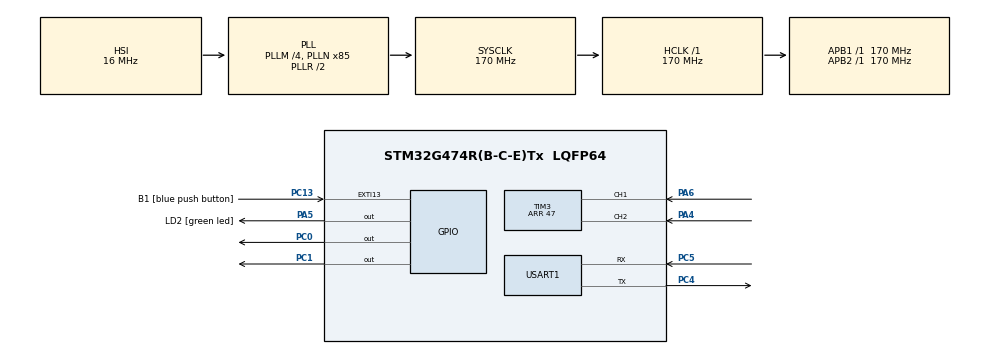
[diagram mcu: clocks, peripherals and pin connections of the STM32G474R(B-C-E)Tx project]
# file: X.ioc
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Mcu.Family=STM32G4
Mcu.Name=STM32G474R(B-C-E)Tx
Mcu.Package=LQFP64
NVIC.EXTI15_10_IRQn=true\:0\:0\:false\:false\:true\:true\:true\:true
NVIC.PriorityGroup=NVIC_PRIORITYGROUP_4
PA13.GPIO_Label=T_SWDIO
PA13.Mode=Serial_Wire
PA13.Signal=SYS_JTMS-SWDIO
PA14.GPIO_Label=T_SWCLK
PA14.Mode=Serial_Wire
PA14.Signal=SYS_JTCK-SWCLK
PA2.GPIO_Label=LPUART1_TX [STLINKV3E_VCP_RX]
PA2.Signal=LPUART1_TX
PA3.GPIO_Label=LPUART1_RX [STLINKV3E_VCP_TX]
PA3.Signal=LPUART1_RX
PA4.Signal=S_TIM3_CH2
PA5.GPIO_Label=LD2 [green led]
PA5.Signal=GPIO_Output
PA6.Signal=S_TIM3_CH1
PB3.GPIO_Label=T_SWO
PB3.Signal=SYS_JTDO-SWO
PC0.Signal=GPIO_Output
PC1.Signal=GPIO_Output
PC13.GPIO_Label=B1 [blue push button]
PC13.Signal=GPXTI13
PC14-OSC32_IN.Mode=LSE-External-Oscillator
PC14-OSC32_IN.Signal=RCC_OSC32_IN
PC15-OSC32_OUT.Mode=LSE-External-Oscillator
PC15-OSC32_OUT.Signal=RCC_OSC32_OUT
PC4.Mode=Asynchronous
PC4.Signal=USART1_TX
PC5.Mode=Asynchronous
PC5.Signal=USART1_RX
PF0-OSC_IN.Mode=HSE-External-Oscillator
PF0-OSC_IN.Signal=RCC_OSC_IN
PF1-OSC_OUT.Mode=HSE-External-Oscillator
PF1-OSC_OUT.Signal=RCC_OSC_OUT
ProjectManager.HeapSize=0x200
ProjectManager.StackSize=0x400
ProjectManager.TargetToolchain=STM32CubeIDE
RCC.ADC12Freq_Value=170000000
RCC.ADC345Freq_Value=170000000
RCC.AHBFreq_Value=170000000
RCC.APB1Freq_Value=170000000
RCC.APB1TimFreq_Value=170000000
RCC.APB2Freq_Value=170000000
RCC.APB2TimFreq_Value=170000000
RCC.CortexFreq_Value=170000000
RCC.EXTERNAL_CLOCK_VALUE=12288000
RCC.HCLKFreq_Value=170000000
RCC.HSE_VALUE=24000000
RCC.HSI48_VALUE=48000000
RCC.HSI_VALUE=16000000
RCC.PLLM=RCC_PLLM_DIV4
RCC.PLLN=85
RCC.RTCClockSelection=RCC_RTCCLKSOURCE_LSE
RCC.SYSCLKFreq_VALUE=170000000
RCC.SYSCLKSource=RCC_SYSCLKSOURCE_PLLCLK
RCC.USBFreq_Value=170000000
RCC.VCOOutputFreq_Value=340000000
SH.S_TIM3_CH1.0=TIM3_CH1,Encoder_Interface
SH.S_TIM3_CH2.0=TIM3_CH2,Encoder_Interface
TIM3.EncoderMode=TIM_ENCODERMODE_TI12
TIM3.PeriodNoDither=47
USART1.VirtualMode-Asynchronous=VM_ASYNC
VP_SYS_VS_DBSignals.Mode=DisableDeadBatterySignals
board=NUCLEO-G474RE

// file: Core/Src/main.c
/* USER CODE BEGIN Header */
/**
  ******************************************************************************
  * @file           : main.c
  * @brief          : Main program body
  ******************************************************************************
  * @attention
  *
  * Copyright (c) 2024 STMicroelectronics.
  * All rights reserved.
  *
  * This software is licensed under terms that can be found in the LICENSE file
  * in the root directory of this software component.
  * If no LICENSE file comes with this software, it is provided AS-IS.
  *
  ******************************************************************************
  */
/* USER CODE END Header */
#include "main.h"

/* USER CODE BEGIN Includes */
#include "stdio.h"
#include "string.h"
/* USER CODE END Includes */

/* USER CODE BEGIN PD */
UART_HandleTypeDef huart1;

/* USER CODE END PD */

TIM_HandleTypeDef htim3;

UART_HandleTypeDef huart1;

/* USER CODE BEGIN PV */
float QEIReadRaw;
uint8_t a;

uint8_t RxBuffer[20];
uint8_t TxBuffer[100];
/* USER CODE END PV */

void SystemClock_Config(void);
static void MX_GPIO_Init(void);
static void MX_TIM3_Init(void);
static void MX_USART1_UART_Init(void);
/* USER CODE BEGIN PFP */
void UARTPollingMethod();

/* USER CODE END PFP */

int main(void)
{

  /* MCU Configuration--------------------------------------------------------*/

  /* Reset of all peripherals, Initializes the Flash interface and the Systick. */
  HAL_Init();

  /* Configure the system clock */
  SystemClock_Config();

  /* Initialize all configured peripherals */
  MX_GPIO_Init();
  MX_TIM3_Init();
  MX_USART1_UART_Init();
  /* USER CODE BEGIN 2 */

  HAL_TIM_Encoder_Start(&htim3,TIM_CHANNEL_ALL);
  uint8_t text[] = "HELLO FIBO";
  HAL_UART_Transmit(&huart1,text, 101, 10);
  /* USER CODE END 2 */

  /* Infinite loop */
  while (1)
  {

    /* USER CODE BEGIN 3 */

	QEIReadRaw = __HAL_TIM_GET_COUNTER(&htim3);
	a = HAL_GPIO_ReadPin(GPIOC, GPIO_PIN_13);

	if(HAL_GPIO_ReadPin(GPIOC, GPIO_PIN_13) == 1)
	{
	HAL_GPIO_WritePin(GPIOC, GPIO_PIN_0, 1);
	HAL_GPIO_WritePin(GPIOC, GPIO_PIN_1, 0);
	}
	UARTPollingMethod();

  }
  /* USER CODE END 3 */
}

void SystemClock_Config(void)
{
  RCC_OscInitTypeDef RCC_OscInitStruct = {0};
  RCC_ClkInitTypeDef RCC_ClkInitStruct = {0};

  /** Configure the main internal regulator output voltage
  */
  HAL_PWREx_ControlVoltageScaling(PWR_REGULATOR_VOLTAGE_SCALE1_BOOST);

  /** Initializes the RCC Oscillators according to the specified parameters
  * in the RCC_OscInitTypeDef structure.
  */
  RCC_OscInitStruct.OscillatorType = RCC_OSCILLATORTYPE_HSI;
  RCC_OscInitStruct.HSIState = RCC_HSI_ON;
  RCC_OscInitStruct.HSICalibrationValue = RCC_HSICALIBRATION_DEFAULT;
  RCC_OscInitStruct.PLL.PLLState = RCC_PLL_ON;
  RCC_OscInitStruct.PLL.PLLSource = RCC_PLLSOURCE_HSI;
  RCC_OscInitStruct.PLL.PLLM = RCC_PLLM_DIV4;
  RCC_OscInitStruct.PLL.PLLN = 85;
  RCC_OscInitStruct.PLL.PLLP = RCC_PLLP_DIV2;
  RCC_OscInitStruct.PLL.PLLQ = RCC_PLLQ_DIV2;
  RCC_OscInitStruct.PLL.PLLR = RCC_PLLR_DIV2;
  if (HAL_RCC_OscConfig(&RCC_OscInitStruct) != HAL_OK)
  {
    Error_Handler();
  }

  /** Initializes the CPU, AHB and APB buses clocks
  */
  RCC_ClkInitStruct.ClockType = RCC_CLOCKTYPE_HCLK|RCC_CLOCKTYPE_SYSCLK
                              |RCC_CLOCKTYPE_PCLK1|RCC_CLOCKTYPE_PCLK2;
  RCC_ClkInitStruct.SYSCLKSource = RCC_SYSCLKSOURCE_PLLCLK;
  RCC_ClkInitStruct.AHBCLKDivider = RCC_SYSCLK_DIV1;
  RCC_ClkInitStruct.APB1CLKDivider = RCC_HCLK_DIV1;
  RCC_ClkInitStruct.APB2CLKDivider = RCC_HCLK_DIV1;

  if (HAL_RCC_ClockConfig(&RCC_ClkInitStruct, FLASH_LATENCY_4) != HAL_OK)
  {
    Error_Handler();
  }
}

static void MX_TIM3_Init(void)
{

  TIM_Encoder_InitTypeDef sConfig = {0};
  TIM_MasterConfigTypeDef sMasterConfig = {0};

  htim3.Instance = TIM3;
  htim3.Init.Prescaler = 0;
  htim3.Init.CounterMode = TIM_COUNTERMODE_UP;
  htim3.Init.Period = 47;
  htim3.Init.ClockDivision = TIM_CLOCKDIVISION_DIV1;
  htim3.Init.AutoReloadPreload = TIM_AUTORELOAD_PRELOAD_DISABLE;
  sConfig.EncoderMode = TIM_ENCODERMODE_TI12;
  sConfig.IC1Polarity = TIM_ICPOLARITY_RISING;
  sConfig.IC1Selection = TIM_ICSELECTION_DIRECTTI;
  sConfig.IC1Prescaler = TIM_ICPSC_DIV1;
  sConfig.IC1Filter = 0;
  sConfig.IC2Polarity = TIM_ICPOLARITY_RISING;
  sConfig.IC2Selection = TIM_ICSELECTION_DIRECTTI;
  sConfig.IC2Prescaler = TIM_ICPSC_DIV1;
  sConfig.IC2Filter = 0;
  if (HAL_TIM_Encoder_Init(&htim3, &sConfig) != HAL_OK)
  {
    Error_Handler();
  }
  sMasterConfig.MasterOutputTrigger = TIM_TRGO_RESET;
  sMasterConfig.MasterSlaveMode = TIM_MASTERSLAVEMODE_DISABLE;
  if (HAL_TIMEx_MasterConfigSynchronization(&htim3, &sMasterConfig) != HAL_OK)
  {
    Error_Handler();
  }

}

static void MX_USART1_UART_Init(void)
{

  huart1.Instance = USART1;
  huart1.Init.BaudRate = 115200;
  huart1.Init.WordLength = UART_WORDLENGTH_8B;
  huart1.Init.StopBits = UART_STOPBITS_1;
  huart1.Init.Parity = UART_PARITY_NONE;
  huart1.Init.Mode = UART_MODE_TX_RX;
  huart1.Init.HwFlowCtl = UART_HWCONTROL_NONE;
  huart1.Init.OverSampling = UART_OVERSAMPLING_16;
  huart1.Init.OneBitSampling = UART_ONE_BIT_SAMPLE_DISABLE;
  huart1.Init.ClockPrescaler = UART_PRESCALER_DIV1;
  huart1.AdvancedInit.AdvFeatureInit = UART_ADVFEATURE_NO_INIT;
  if (HAL_UART_Init(&huart1) != HAL_OK)
  {
    Error_Handler();
  }
  if (HAL_UARTEx_SetTxFifoThreshold(&huart1, UART_TXFIFO_THRESHOLD_1_8) != HAL_OK)
  {
    Error_Handler();
  }
  if (HAL_UARTEx_SetRxFifoThreshold(&huart1, UART_RXFIFO_THRESHOLD_1_8) != HAL_OK)
  {
    Error_Handler();
  }
  if (HAL_UARTEx_DisableFifoMode(&huart1) != HAL_OK)
  {
    Error_Handler();
  }

}

static void MX_GPIO_Init(void)
{
  GPIO_InitTypeDef GPIO_InitStruct = {0};

  /* GPIO Ports Clock Enable */
  __HAL_RCC_GPIOC_CLK_ENABLE();
  __HAL_RCC_GPIOF_CLK_ENABLE();
  __HAL_RCC_GPIOA_CLK_ENABLE();
  __HAL_RCC_GPIOB_CLK_ENABLE();

  /*Configure GPIO pin Output Level */
  HAL_GPIO_WritePin(GPIOC, GPIO_PIN_0|GPIO_PIN_1, GPIO_PIN_RESET);

  /*Configure GPIO pin Output Level */
  HAL_GPIO_WritePin(LD2_GPIO_Port, LD2_Pin, GPIO_PIN_RESET);

  /*Configure GPIO pin : B1_Pin */
  GPIO_InitStruct.Pin = B1_Pin;
  GPIO_InitStruct.Mode = GPIO_MODE_IT_RISING;
  GPIO_InitStruct.Pull = GPIO_NOPULL;
  HAL_GPIO_Init(B1_GPIO_Port, &GPIO_InitStruct);

  /*Configure GPIO pins : PC0 PC1 */
  GPIO_InitStruct.Pin = GPIO_PIN_0|GPIO_PIN_1;
  GPIO_InitStruct.Mode = GPIO_MODE_OUTPUT_PP;
  GPIO_InitStruct.Pull = GPIO_NOPULL;
  GPIO_InitStruct.Speed = GPIO_SPEED_FREQ_LOW;
  HAL_GPIO_Init(GPIOC, &GPIO_InitStruct);

  /*Configure GPIO pins : LPUART1_TX_Pin LPUART1_RX_Pin */
  GPIO_InitStruct.Pin = LPUART1_TX_Pin|LPUART1_RX_Pin;
  GPIO_InitStruct.Mode = GPIO_MODE_AF_PP;
  GPIO_InitStruct.Pull = GPIO_NOPULL;
  GPIO_InitStruct.Speed = GPIO_SPEED_FREQ_LOW;
  GPIO_InitStruct.Alternate = GPIO_AF12_LPUART1;
  HAL_GPIO_Init(GPIOA, &GPIO_InitStruct);

  /*Configure GPIO pin : LD2_Pin */
  GPIO_InitStruct.Pin = LD2_Pin;
  GPIO_InitStruct.Mode = GPIO_MODE_OUTPUT_PP;
  GPIO_InitStruct.Pull = GPIO_NOPULL;
  GPIO_InitStruct.Speed = GPIO_SPEED_FREQ_LOW;
  HAL_GPIO_Init(LD2_GPIO_Port, &GPIO_InitStruct);

  /* EXTI interrupt init*/
  HAL_NVIC_SetPriority(EXTI15_10_IRQn, 0, 0);
  HAL_NVIC_EnableIRQ(EXTI15_10_IRQn);

}

/* USER CODE BEGIN 4 */

void UARTPollingMethod()
	{
	//read UART 10 char with in 10s
	HAL_StatusTypeDef HAL_status = HAL_UART_Receive(&huart1, RxBuffer, 100, 10000);

	//if complete read 10 char
	if(HAL_status == HAL_OK)
	{

		RxBuffer[100] = '\0';

		sprintf((char*)TxBuffer,"Received : %s\r\n",RxBuffer);
		HAL_UART_Transmit(&huart1, TxBuffer, strlen((char*)TxBuffer), 10);
	}
	else if(HAL_status == HAL_TIMEOUT)
	{
		//(for string only) Add string stop symbol \0 to end string
		uint32_t lastCharPos = huart1.RxXferSize - huart1.RxXferCount;
		RxBuffer[lastCharPos] = '\0';

		//return received char     0
		sprintf((char*)TxBuffer,"Received Timeout : %s\r\n",RxBuffer);
		HAL_UART_Transmit(&huart1, TxBuffer, strlen((char*)TxBuffer), 10);

	}
}

/* USER CODE END 4 */

void Error_Handler(void)
{
  __disable_irq();
  while (1)
  {
  }
}
